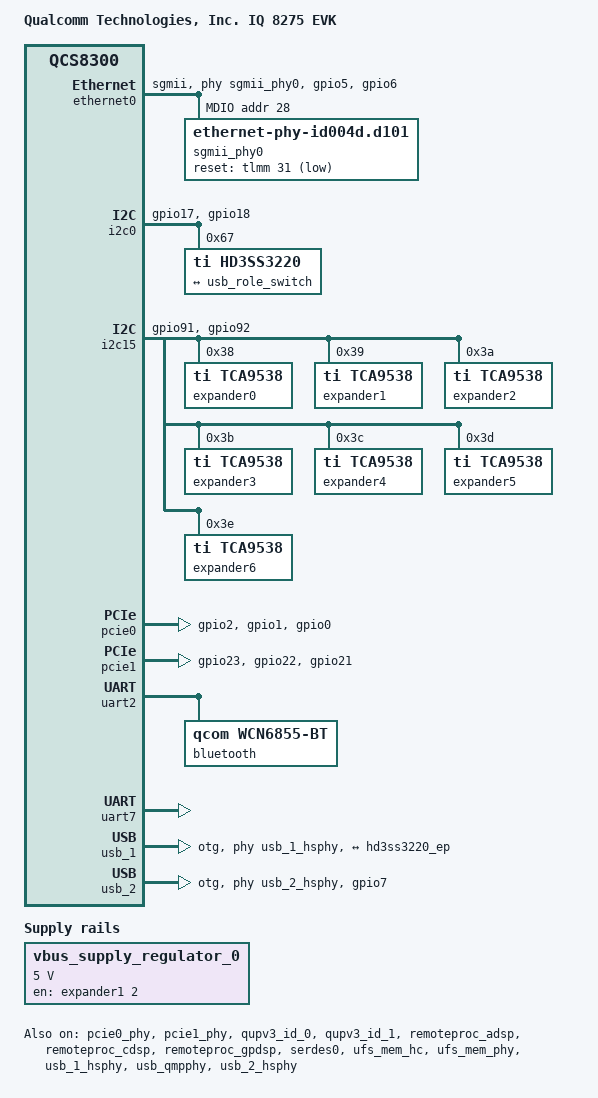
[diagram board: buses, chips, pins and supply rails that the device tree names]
// SPDX-License-Identifier: BSD-3-Clause
/*
 * Copyright (c) 2025 Qualcomm Innovation Center, Inc. All rights reserved.
 */

/dts-v1/;

#include <dt-bindings/gpio/gpio.h>
#include <dt-bindings/regulator/qcom,rpmh-regulator.h>
#include "qcs8300.dtsi"
#include "qcs8300-pmics.dtsi"

/delete-node/ &usb_1_dwc3;
/delete-node/ &usb_2_dwc3;
/ {
	model = "Qualcomm Technologies, Inc. IQ 8275 EVK";
	compatible = "qcom,qcs8275-iq-8275-evk", "qcom,qcs8275", "qcom,qcs8300";

	qcom,msm-id = <675 0x10000>;
	qcom,board-id = <0x00010020 0>, <0x00010019 0>;

	aliases {
		serial0 = &uart7;
		serial1 = &uart2;
	};

	chosen {
		stdout-path = "serial0:115200n8";
	};
};

&apps_rsc {
	regulators-0 {
		compatible = "qcom,pmm8654au-rpmh-regulators";
		qcom,pmic-id = "a";

		vreg_s4a: smps4 {
			regulator-name = "vreg_s4a";
			regulator-min-microvolt = <1800000>;
			regulator-max-microvolt = <1800000>;
			regulator-initial-mode = <RPMH_REGULATOR_MODE_HPM>;
		};

		vreg_s9a: smps9 {
			regulator-name = "vreg_s9a";
			regulator-min-microvolt = <1352000>;
			regulator-max-microvolt = <1352000>;
			regulator-initial-mode = <RPMH_REGULATOR_MODE_HPM>;
		};

		vreg_l3a: ldo3 {
			regulator-name = "vreg_l3a";
			regulator-min-microvolt = <1200000>;
			regulator-max-microvolt = <1200000>;
			regulator-initial-mode = <RPMH_REGULATOR_MODE_HPM>;
			regulator-allow-set-load;
			regulator-allowed-modes = <RPMH_REGULATOR_MODE_LPM
						   RPMH_REGULATOR_MODE_HPM>;
		};

		vreg_l4a: ldo4 {
			regulator-name = "vreg_l4a";
			regulator-min-microvolt = <880000>;
			regulator-max-microvolt = <912000>;
			regulator-initial-mode = <RPMH_REGULATOR_MODE_HPM>;
			regulator-allow-set-load;
			regulator-allowed-modes = <RPMH_REGULATOR_MODE_LPM
						   RPMH_REGULATOR_MODE_HPM>;
		};

		vreg_l5a: ldo5 {
			regulator-name = "vreg_l5a";
			regulator-min-microvolt = <1200000>;
			regulator-max-microvolt = <1200000>;
			regulator-initial-mode = <RPMH_REGULATOR_MODE_HPM>;
			regulator-allow-set-load;
			regulator-allowed-modes = <RPMH_REGULATOR_MODE_LPM
						   RPMH_REGULATOR_MODE_HPM>;
		};

		vreg_l6a: ldo6 {
			regulator-name = "vreg_l6a";
			regulator-min-microvolt = <880000>;
			regulator-max-microvolt = <912000>;
			regulator-initial-mode = <RPMH_REGULATOR_MODE_HPM>;
			regulator-allow-set-load;
			regulator-allowed-modes = <RPMH_REGULATOR_MODE_LPM
						   RPMH_REGULATOR_MODE_HPM>;
		};

		vreg_l7a: ldo7 {
			regulator-name = "vreg_l7a";
			regulator-min-microvolt = <880000>;
			regulator-max-microvolt = <912000>;
			regulator-initial-mode = <RPMH_REGULATOR_MODE_HPM>;
			regulator-allow-set-load;
			regulator-allowed-modes = <RPMH_REGULATOR_MODE_LPM
						   RPMH_REGULATOR_MODE_HPM>;
		};

		vreg_l8a: ldo8 {
			regulator-name = "vreg_l8a";
			regulator-min-microvolt = <2504000>;
			regulator-max-microvolt = <2960000>;
			regulator-initial-mode = <RPMH_REGULATOR_MODE_HPM>;
			regulator-allow-set-load;
			regulator-allowed-modes = <RPMH_REGULATOR_MODE_LPM
						   RPMH_REGULATOR_MODE_HPM>;
		};

		vreg_l9a: ldo9 {
			regulator-name = "vreg_l9a";
			regulator-min-microvolt = <2970000>;
			regulator-max-microvolt = <3072000>;
			regulator-initial-mode = <RPMH_REGULATOR_MODE_HPM>;
			regulator-allow-set-load;
			regulator-allowed-modes = <RPMH_REGULATOR_MODE_LPM
						   RPMH_REGULATOR_MODE_HPM>;
		};
	};

	regulators-1 {
		compatible = "qcom,pmm8654au-rpmh-regulators";
		qcom,pmic-id = "c";

		vreg_s5c: smps5 {
			regulator-name = "vreg_s5c";
			regulator-min-microvolt = <1104000>;
			regulator-max-microvolt = <1104000>;
			regulator-initial-mode = <RPMH_REGULATOR_MODE_HPM>;
		};

		vreg_l1c: ldo1 {
			regulator-name = "vreg_l1c";
			regulator-min-microvolt = <300000>;
			regulator-max-microvolt = <500000>;
			regulator-initial-mode = <RPMH_REGULATOR_MODE_HPM>;
			regulator-allow-set-load;
			regulator-allowed-modes = <RPMH_REGULATOR_MODE_LPM
						   RPMH_REGULATOR_MODE_HPM>;
		};

		vreg_l2c: ldo2 {
			regulator-name = "vreg_l2c";
			regulator-min-microvolt = <900000>;
			regulator-max-microvolt = <904000>;
			regulator-initial-mode = <RPMH_REGULATOR_MODE_HPM>;
			regulator-allow-set-load;
			regulator-allowed-modes = <RPMH_REGULATOR_MODE_LPM
						   RPMH_REGULATOR_MODE_HPM>;
		};

		vreg_l4c: ldo4 {
			regulator-name = "vreg_l4c";
			regulator-min-microvolt = <1200000>;
			regulator-max-microvolt = <1200000>;
			regulator-initial-mode = <RPMH_REGULATOR_MODE_HPM>;
			regulator-allow-set-load;
			regulator-allowed-modes = <RPMH_REGULATOR_MODE_LPM
						   RPMH_REGULATOR_MODE_HPM>;
		};

		vreg_l6c: ldo6 {
			regulator-name = "vreg_l6c";
			regulator-min-microvolt = <1800000>;
			regulator-max-microvolt = <1800000>;
			regulator-initial-mode = <RPMH_REGULATOR_MODE_HPM>;
			regulator-allow-set-load;
			regulator-allowed-modes = <RPMH_REGULATOR_MODE_LPM
						   RPMH_REGULATOR_MODE_HPM>;
		};

		vreg_l7c: ldo7 {
			regulator-name = "vreg_l7c";
			regulator-min-microvolt = <1800000>;
			regulator-max-microvolt = <1800000>;
			regulator-initial-mode = <RPMH_REGULATOR_MODE_HPM>;
			regulator-allow-set-load;
			regulator-allowed-modes = <RPMH_REGULATOR_MODE_LPM
						   RPMH_REGULATOR_MODE_HPM>;
		};

		vreg_l8c: ldo8 {
			regulator-name = "vreg_l8c";
			regulator-min-microvolt = <1800000>;
			regulator-max-microvolt = <1800000>;
			regulator-initial-mode = <RPMH_REGULATOR_MODE_HPM>;
			regulator-allow-set-load;
			regulator-allowed-modes = <RPMH_REGULATOR_MODE_LPM
						   RPMH_REGULATOR_MODE_HPM>;
		};

		vreg_l9c: ldo9 {
			regulator-name = "vreg_l9c";
			regulator-min-microvolt = <1800000>;
			regulator-max-microvolt = <1800000>;
			regulator-initial-mode = <RPMH_REGULATOR_MODE_HPM>;
			regulator-allow-set-load;
			regulator-allowed-modes = <RPMH_REGULATOR_MODE_LPM
						   RPMH_REGULATOR_MODE_HPM>;
		};
	};
};

&ethernet0 {
	phy-mode = "sgmii";
	phy-handle = <&sgmii_phy0>;

	pinctrl-0 = <&ethernet0_default>;
	pinctrl-names = "default";

	snps,mtl-rx-config = <&mtl_rx_setup>;
	snps,mtl-tx-config = <&mtl_tx_setup>;
	snps,ps-speed = <1000>;

	status = "okay";

	mdio {
		compatible = "snps,dwmac-mdio";
		#address-cells = <1>;
		#size-cells = <0>;

		sgmii_phy0: phy@1c {
			compatible = "ethernet-phy-id004d.d101";
			reg = <0x1c>;
			device_type = "ethernet-phy";
			reset-gpios = <&tlmm 31 GPIO_ACTIVE_LOW>;
			reset-assert-us = <11000>;
			reset-deassert-us = <70000>;
		};
	};

	mtl_rx_setup: rx-queues-config {
		snps,rx-queues-to-use = <4>;
		snps,rx-sched-sp;

		queue0 {
			snps,dcb-algorithm;
			snps,map-to-dma-channel = <0x0>;
			snps,route-up;
			snps,priority = <0x1>;
		};

		queue1 {
			snps,dcb-algorithm;
			snps,map-to-dma-channel = <0x1>;
			snps,route-ptp;
		};

		queue2 {
			snps,avb-algorithm;
			snps,map-to-dma-channel = <0x2>;
			snps,route-avcp;
		};

		queue3 {
			snps,avb-algorithm;
			snps,map-to-dma-channel = <0x3>;
			snps,priority = <0xc>;
		};
	};

	mtl_tx_setup: tx-queues-config {
		snps,tx-queues-to-use = <4>;
		snps,tx-sched-sp;

		queue0 {
			snps,dcb-algorithm;
		};

		queue1 {
			snps,dcb-algorithm;
		};

		queue2 {
			snps,avb-algorithm;
			snps,send_slope = <0x1000>;
			snps,idle_slope = <0x1000>;
			snps,high_credit = <0x3e800>;
			snps,low_credit = <0xffc18000>;
		};

		queue3 {
			snps,avb-algorithm;
			snps,send_slope = <0x1000>;
			snps,idle_slope = <0x1000>;
			snps,high_credit = <0x3e800>;
			snps,low_credit = <0xffc18000>;
		};
	};
};

&i2c0 {
	pinctrl-0 = <&qup_i2c0_default>;
	pinctrl-names = "default";
	status = "okay";

	hd3ss3220@67 {
		compatible = "ti,hd3ss3220";
		reg = <0x67>;
		interrupts = < 45 IRQ_TYPE_EDGE_FALLING>;

		connector@0 {
			compatible = "usb-c-connector";
			label = "USB-C";
			data-role = "dual";
			power-role = "dual";

			ports {
				#address-cells = <1>;
				#size-cells = <0>;

				port@0 {
					reg = <0>;
					hd3ss3220_ep: endpoint {
						remote-endpoint = <&usb_role_switch>;
					};
				};
			};
		};
	};
};

&i2c15 {
	pinctrl-0 = <&qup_i2c15_default>;
	pinctrl-names = "default";
	status = "okay";

	expander0: pca953x@38 {
		compatible = "ti,tca9538";
		#gpio-cells = <2>;
		gpio-controller;
		reg = <0x38>;
	};

	expander1: pca953x@39 {
		compatible = "ti,tca9538";
		#gpio-cells = <2>;
		gpio-controller;
		reg = <0x39>;

		io-exp-hog2 {
			gpio-hog;
			gpios = <2 GPIO_ACTIVE_HIGH>;
			output-low;
			line-name = "io_exp_gpio2";
		};
	};

	expander2: pca953x@3a {
		compatible = "ti,tca9538";
		#gpio-cells = <2>;
		gpio-controller;
		reg = <0x3a>;
	};

	expander3: pca953x@3b {
		compatible = "ti,tca9538";
		#gpio-cells = <2>;
		gpio-controller;
		reg = <0x3b>;
	};

	expander4: pca953x@3c {
		compatible = "ti,tca9538";
		#gpio-cells = <2>;
		gpio-controller;
		reg = <0x3c>;
	};

	expander5: pca953x@3d {
		compatible = "ti,tca9538";
		#gpio-cells = <2>;
		gpio-controller;
		reg = <0x3d>;
	};

	expander6: pca953x@3e {
		compatible = "ti,tca9538";
		#gpio-cells = <2>;
		gpio-controller;
		reg = <0x3e>;
	};
};

&gpi_dma0 {
	status = "okay";
};

&gpi_dma1 {
	status = "okay";
};

&pcie0 {
	perst-gpios = <&tlmm 2 GPIO_ACTIVE_LOW>;
	wake-gpios = <&tlmm 0 GPIO_ACTIVE_HIGH>;

	pinctrl-names = "default";
	pinctrl-0 = <&pcie0_default_state>;

	status = "okay";
};

&pcie1 {
	perst-gpios = <&tlmm 23 GPIO_ACTIVE_LOW>;
	wake-gpios = <&tlmm 21 GPIO_ACTIVE_HIGH>;

	pinctrl-names = "default";
	pinctrl-0 = <&pcie1_default_state>;

	status = "okay";
};

&pcie0_phy {
	vdda-phy-supply = <&vreg_l6a>;
	vdda-pll-supply = <&vreg_l5a>;

	status = "okay";
};

&pcie1_phy {
	vdda-phy-supply = <&vreg_l6a>;
	vdda-pll-supply = <&vreg_l5a>;

	status = "okay";
};

&pmm8650au_1_gpios {
	usb2_en_state: usb2-en-state {
		pins = "gpio7";
		function = "normal";
		output-high;
		power-source = <0>;
	};
};

&qupv3_id_0 {
	status = "okay";
};

&qupv3_id_1 {
	status = "okay";
};

&remoteproc_adsp {
	firmware-name = "qcom/qcs8300/adsp.mbn";
	status = "okay";
};

&remoteproc_cdsp {
	firmware-name = "qcom/qcs8300/cdsp0.mbn";
	status = "okay";
};

&remoteproc_gpdsp {
	firmware-name = "qcom/qcs8300/gpdsp0.mbn";
	status = "okay";
};

&serdes0 {
	phy-supply = <&vreg_l5a>;
	status = "okay";
};

&soc {
	vbus_supply_regulator_0: vbus_supply_regulator_0 {
		compatible = "regulator-fixed";
		regulator-name = "vbus_supply_0";
		gpio = <&expander1 2 GPIO_ACTIVE_HIGH>;
		regulator-min-microvolt = <5000000>;
		regulator-max-microvolt = <5000000>;
		enable-active-high;
	};
};

&tlmm {

	dp_hot_plug_det: dp-hot-plug-det-state {
	/* TODO: Add the required nodes once mdss_dp0 is available.*/
	};

	ethernet0_default: ethernet0-default-state {
		ethernet0_mdc: ethernet0-mdc-pins {
			pins = "gpio5";
			function = "emac0_mdc";
			drive-strength = <16>;
			bias-pull-up;
		};

		ethernet0_mdio: ethernet0-mdio-pins {
			pins = "gpio6";
			function = "emac0_mdio";
			drive-strength = <16>;
			bias-pull-up;
		};
	};

	pcie0_default_state: pcie0-default-state {
		perst-pins {
			pins = "gpio2";
			function = "gpio";
			drive-strength = <2>;
			bias-pull-down;
		};

		clkreq-pins {
			pins = "gpio1";
			function = "pcie0_clkreq";
			drive-strength = <2>;
			bias-pull-up;
		};

		wake-pins {
			pins = "gpio0";
			function = "gpio";
			drive-strength = <2>;
			bias-pull-up;
		};
	};

	pcie1_default_state: pcie1-default-state {
		perst-pins {
			pins = "gpio23";
			function = "gpio";
			drive-strength = <2>;
			bias-pull-down;
		};

		clkreq-pins {
			pins = "gpio22";
			function = "pcie1_clkreq";
			drive-strength = <2>;
			bias-pull-up;
		};

		wake-pins {
			pins = "gpio21";
			function = "gpio";
			drive-strength = <2>;
			bias-pull-up;
		};
	};

	qup_i2c0_default: qup-i2c0-state {
		pins = "gpio17", "gpio18";
		function = "qup0_se0";
		drive-strength = <2>;
		bias-pull-up;
	};

	qup_i2c15_default: qup-i2c15-state {
		pins = "gpio91", "gpio92";
		function = "qup1_se7";
		drive-strength = <2>;
		bias-pull-up;
	};
};

&uart2 {
	pinctrl-names = "default";
	status = "okay";

	/* HS UART Instance */
	bluetooth: bluetooth {
		compatible = "qcom,wcn6855-bt";
		pinctrl-names = "default";
		max-speed = <3200000>;
	};
};

&uart7 {
	status = "okay";
};

&ufs_mem_hc {
	reset-gpios = <&tlmm 133 GPIO_ACTIVE_LOW>;
	vcc-supply = <&vreg_l8a>;
	vcc-max-microamp = <1100000>;
	vccq-supply = <&vreg_l4c>;
	vccq-max-microamp = <1200000>;
	status = "okay";
};

&ufs_mem_phy {
	vdda-phy-supply = <&vreg_l4a>;
	vdda-pll-supply = <&vreg_l5a>;
	status = "okay";
};

&usb_1 {
	reg = <0x0 0x0a600000 0x0 0x20000>;

	interrupts-extended = <&intc GIC_SPI 292 IRQ_TYPE_LEVEL_HIGH>,
			      <&intc GIC_SPI 131 IRQ_TYPE_LEVEL_HIGH>,
			      <&pdc 14 IRQ_TYPE_EDGE_BOTH>,
			      <&pdc 15 IRQ_TYPE_EDGE_BOTH>,
			      <&pdc 12 IRQ_TYPE_LEVEL_HIGH>;
	interrupt-names = "dwc_usb3",
			  "pwr_event",
			  "dp_hs_phy_irq",
			  "dm_hs_phy_irq",
			  "ss_phy_irq";

	iommus = <&apps_smmu 0x80 0x0>;
	snps,dis_u2_susphy_quirk;
	snps,dis_enblslpm_quirk;
	phys = <&usb_1_hsphy>, <&usb_qmpphy>;
	phy-names = "usb2-phy", "usb3-phy";
	maximum-speed = "super-speed-plus";

	usb-role-switch;
	dr_mode = "otg";

	qcom,enable-rt;
	wakeup-source;
	maximum-speed = "super-speed";
	vbus_dwc3-supply = <&vbus_supply_regulator_0>;
	status = "okay";

	ports {

		#address-cells = <1>;
		#size-cells = <0>;

		port@0 {
			reg = <0>;
			usb_role_switch: endpoint {
				remote-endpoint = <&hd3ss3220_ep>;
			};
		};

	};
};

&usb_1_hsphy {
	vdda-pll-supply = <&vreg_l7a>;
	vdda18-supply = <&vreg_l7c>;
	vdda33-supply = <&vreg_l9a>;

	status = "okay";
};

&usb_qmpphy {
	vdda-phy-supply = <&vreg_l7a>;
	vdda-pll-supply = <&vreg_l5a>;

	status = "okay";
};

&usb_2 {
	reg = <0x0 0x0a400000 0x0 0x200000>;

	interrupts-extended = <&intc GIC_SPI 442 IRQ_TYPE_LEVEL_HIGH>,
				<&intc GIC_SPI 444 IRQ_TYPE_LEVEL_HIGH>,
				<&pdc 10 IRQ_TYPE_EDGE_BOTH>,
				<&pdc 9 IRQ_TYPE_EDGE_BOTH>;
	interrupt-names = "dwc_usb2",
			"pwr_event",
			"dp_hs_phy_irq",
			"dm_hs_phy_irq";

	iommus = <&apps_smmu 0x20 0x0>;
	phys = <&usb_2_hsphy>;
	phy-names = "usb2-phy";
	maximum-speed = "high-speed";

	dr_mode = "otg";
	usb-role-switch;
	role-switch-default-mode = "host";
	qcom,enable-rt;
	wakeup-source;

	pinctrl-names = "default";
	pinctrl-0 = <&usb2_en_state>;

	status = "okay";
};

&usb_2_hsphy {
	vdda-pll-supply = <&vreg_l7a>;
	vdda18-supply = <&vreg_l7c>;
	vdda33-supply = <&vreg_l9a>;

	status = "okay";
};
